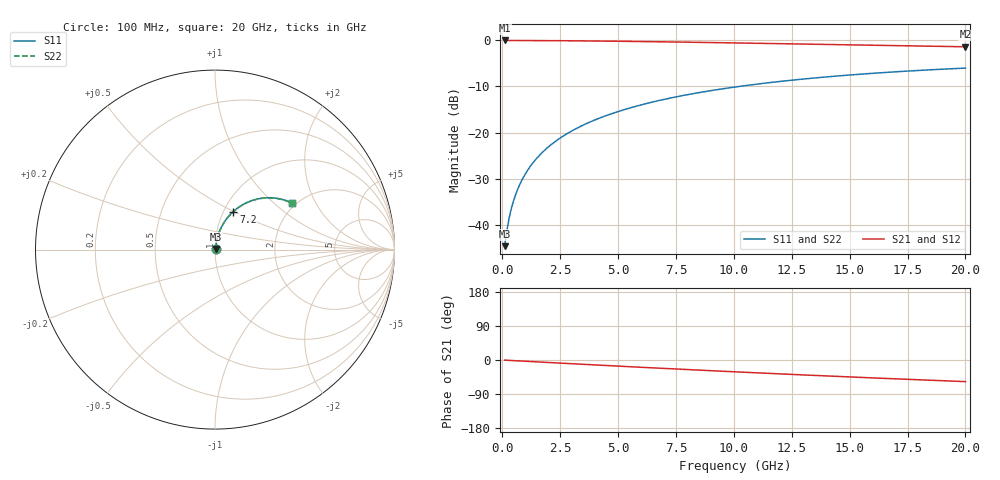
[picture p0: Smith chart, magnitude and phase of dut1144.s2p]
! Touchstone file exported from HFSS 2026.1.0
!  File:  C:/ffzhzh/LocalFiles/Ansys_Project_Files/temp_train_BSMRDL_1144_1783175522_55132.aedt
!  Generated:  10:33:25 PM Jul  4, 2026
!  Design:  BSMRDL
!  Project:  temp_train_BSMRDL_1144_1783175522_55132
! Variables:
!  h_bsmrdl = 4.83um
!  h_ox = 20um
!  h_rdl = 5um
!  h_sub = 80um
!  h_tmrdl = 5um
!  h_tsv = 80um
!  h_via = 3um
!  l_bsmrdl = 894.26um
!  l_sub = 1294.26um
!  l_tmrdl = 200um
!  m_sub = 200um
!  pitch = 40.03um
!  r_tsv = 6um
!  s_tmrdl = 10um
!  w_bsmrdl = 14.48um
!  w_sub = 500um
!  w_tmrdl = 12um
!  x_tsv_center1 = 206um
!  x_tsv_center2 = 1114.74um
!  x_tsv_center3 = 1326.74um
!  x_tsv_center4 = 2235.48um
!  x_tsv_center5 = 2447.48um
!  x_tsv_center6 = 3356.22um
# GHz S MA R 50.000000
! Terminal data exported
! Port[1] = BSM_RDL1_1_T1
! Port[2] = BSM_RDL1_1_T2
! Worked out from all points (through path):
!   200 points, 100 MHz to 20 GHz, reference 50 ohm
!   highest |S21| = -0.04 dB at 100 MHz (marker M1); lowest = -1.4 dB at 20 GHz (marker M2)
!   group delay of S21, straight-line fit = 7.92 ps
!   lowest |S11| = -44.5 dB at 100 MHz (marker M3), VSWR 1.01, Z = 50.5 + j0.377 ohm
!   |S11| at or under -10 dB: start of sweep to 10.21 GHz
!   |S22| runs from -44.5 to -6.0 dB; largest |S21 - S12| = 3.6e-15
!   S11 on the Smith chart (normalised r, x): 100 MHz: 1.01, +0.01; 7.2 GHz: 1.11, +0.50; 20 GHz: 1.89, +1.31
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0.1  0.005926 39.1  0.9954 -0.3  0.9954 -0.3  0.005926 39.1
! Gamma 0 0 0 0
! Port Impedance 50 0 50 0
0.2  0.008819 56.9  0.9952 -0.7  0.9952 -0.7  0.008819 56.9
0.3  0.01208 65.1  0.9951 -1.0  0.9951 -1.0  0.01208 65.1
0.4  0.01543 69.6  0.9949 -1.3  0.9949 -1.3  0.01543 69.6
0.5  0.01882 72.4  0.9947 -1.7  0.9947 -1.7  0.01882 72.4
0.6  0.02223 74.3  0.9945 -2.0  0.9945 -2.0  0.02223 74.3
0.8  0.0291 76.6  0.9942 -2.7  0.9942 -2.7  0.0291 76.6
1.1  0.03947 78.2  0.9936 -3.6  0.9936 -3.6  0.03947 78.2
1.5  0.05332 78.7  0.9927 -5.0  0.9927 -5.0  0.05332 78.7
1.8  0.06368 78.5  0.9918 -5.9  0.9918 -5.9  0.06369 78.5
2.1  0.074 78.1  0.9909 -6.9  0.9909 -6.9  0.074 78.1
2.7  0.09442 76.9  0.9885 -8.9  0.9885 -8.9  0.09443 76.9
3.5  0.1211 74.8  0.9847 -11.4  0.9847 -11.4  0.1211 74.8
4.2  0.144 72.9  0.9809 -13.7  0.9809 -13.7  0.144 72.8
5  0.1694 70.6  0.9759 -16.2  0.9759 -16.2  0.1694 70.5
6.8  0.2238 65.4  0.9632 -21.7  0.9632 -21.7  0.2239 65.4
7.2  0.2354 64.3  0.9601 -22.9  0.9601 -22.9  0.2354 64.2
8.6  0.2744 60.3  0.9488 -27.0  0.9488 -27.0  0.2744 60.2
10.1  0.3135 56.2  0.9359 -31.4  0.9359 -31.4  0.3135 56.1
13.4  0.3893 47.4  0.9062 -40.5  0.9062 -40.5  0.3893 47.3
16.7  0.4513 39.1  0.8769 -49.0  0.8769 -49.0  0.4514 39.0
20  0.5002 31.3  0.8502 -57.1  0.8502 -57.1  0.5003 31.1
